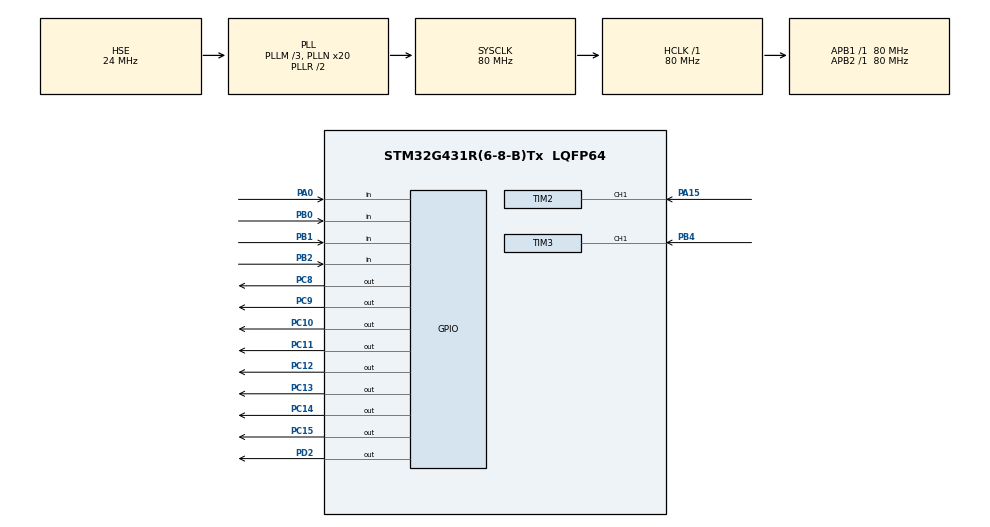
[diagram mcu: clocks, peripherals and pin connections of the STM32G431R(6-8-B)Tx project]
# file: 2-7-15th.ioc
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Mcu.Family=STM32G4
Mcu.Name=STM32G431R(6-8-B)Tx
Mcu.Package=LQFP64
NVIC.PriorityGroup=NVIC_PRIORITYGROUP_4
NVIC.TIM2_IRQn=true\:2\:0\:true\:false\:true\:true\:true\:true
NVIC.TIM3_IRQn=true\:1\:0\:true\:false\:true\:true\:true\:true
NVIC.TIM7_IRQn=true\:0\:0\:false\:false\:true\:true\:true\:true
PA0.GPIO_PuPd=GPIO_PULLUP
PA0.Signal=GPIO_Input
PA13.Mode=Serial_Wire
PA13.Signal=SYS_JTMS-SWDIO
PA14.Mode=Serial_Wire
PA14.Signal=SYS_JTCK-SWCLK
PA15.Signal=S_TIM2_CH1
PB0.GPIO_PuPd=GPIO_PULLUP
PB0.Signal=GPIO_Input
PB1.GPIO_PuPd=GPIO_PULLUP
PB1.Signal=GPIO_Input
PB2.GPIO_PuPd=GPIO_PULLUP
PB2.Signal=GPIO_Input
PB4.Signal=S_TIM3_CH1
PC10.PinState=GPIO_PIN_SET
PC10.Signal=GPIO_Output
PC11.PinState=GPIO_PIN_SET
PC11.Signal=GPIO_Output
PC12.PinState=GPIO_PIN_SET
PC12.Signal=GPIO_Output
PC13.PinState=GPIO_PIN_SET
PC13.Signal=GPIO_Output
PC14-OSC32_IN.PinState=GPIO_PIN_SET
PC14-OSC32_IN.Signal=GPIO_Output
PC15-OSC32_OUT.PinState=GPIO_PIN_SET
PC15-OSC32_OUT.Signal=GPIO_Output
PC8.PinState=GPIO_PIN_SET
PC8.Signal=GPIO_Output
PC9.PinState=GPIO_PIN_SET
PC9.Signal=GPIO_Output
PD2.PinState=GPIO_PIN_SET
PD2.Signal=GPIO_Output
PF0-OSC_IN.Mode=HSE-External-Oscillator
PF0-OSC_IN.Signal=RCC_OSC_IN
PF1-OSC_OUT.Mode=HSE-External-Oscillator
PF1-OSC_OUT.Signal=RCC_OSC_OUT
ProjectManager.HeapSize=0x200
ProjectManager.StackSize=0x400
ProjectManager.TargetToolchain=MDK-ARM V5.32
RCC.ADC12Freq_Value=80000000
RCC.AHBFreq_Value=80000000
RCC.APB1Freq_Value=80000000
RCC.APB1TimFreq_Value=80000000
RCC.APB2Freq_Value=80000000
RCC.APB2TimFreq_Value=80000000
RCC.CortexFreq_Value=80000000
RCC.EXTERNAL_CLOCK_VALUE=12288000
RCC.HCLKFreq_Value=80000000
RCC.HSE_VALUE=24000000
RCC.HSI48_VALUE=48000000
RCC.HSI_VALUE=16000000
RCC.LSE_VALUE=32768
RCC.PLLM=RCC_PLLM_DIV3
RCC.PLLN=20
RCC.PLLSourceVirtual=RCC_PLLSOURCE_HSE
RCC.SYSCLKFreq_VALUE=80000000
RCC.SYSCLKSource=RCC_SYSCLKSOURCE_PLLCLK
RCC.USBFreq_Value=80000000
RCC.VCOOutputFreq_Value=160000000
SH.S_TIM2_CH1.0=TIM2_CH1,Input_Capture1_from_TI1
SH.S_TIM3_CH1.0=TIM3_CH1,Input_Capture1_from_TI1
TIM2.Channel-Input_Capture1_from_TI1=TIM_CHANNEL_1
TIM2.PeriodNoDither=65535
TIM2.Prescaler=80-1
TIM3.Channel-Input_Capture1_from_TI1=TIM_CHANNEL_1
TIM3.Prescaler=80-1
TIM7.PeriodNoDither=1000-1
TIM7.Prescaler=80-1
VP_SYS_VS_DBSignals.Mode=DisableDeadBatterySignals
VP_TIM2_VS_ClockSourceINT.Mode=Internal
VP_TIM3_VS_ClockSourceINT.Mode=Internal
VP_TIM7_VS_ClockSourceINT.Mode=Enable_Timer
board=custom

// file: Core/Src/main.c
/* USER CODE BEGIN Header */
/**
  ******************************************************************************
  * @file           : main.c
  * @brief          : Main program body
  ******************************************************************************
  * @attention
  *
  * Copyright (c) 2025 STMicroelectronics.
  * All rights reserved.
  *
  * This software is licensed under terms that can be found in the LICENSE file
  * in the root directory of this software component.
  * If no LICENSE file comes with this software, it is provided AS-IS.
  *
  ******************************************************************************
  */
/* USER CODE END Header */
#include "main.h"
#include "tim.h"
#include "gpio.h"

/* USER CODE BEGIN Includes */
#include "headfile.h"
/* USER CODE END Includes */

void SystemClock_Config(void);

int main(void)
{

  /* MCU Configuration--------------------------------------------------------*/

  /* Reset of all peripherals, Initializes the Flash interface and the Systick. */
  HAL_Init();

  /* Configure the system clock */
  SystemClock_Config();

  /* Initialize all configured peripherals */
  MX_GPIO_Init();
  MX_TIM2_Init();
  MX_TIM3_Init();
  MX_TIM7_Init();
  /* USER CODE BEGIN 2 */
	HAL_GPIO_WritePin(GPIOD,GPIO_PIN_2,GPIO_PIN_RESET);
	led_show(1,0);
	led_show(2,0);
	led_show(3,0);
	led_show(4,0);
	led_show(5,0);
	led_show(6,0);
	led_show(7,0);
	led_show(8,0);

	LCD_Init();
	LCD_Clear(Black);
	LCD_SetTextColor(White);
	LCD_SetBackColor(Black);

	//HAL_TIM_IC_Start(&htim2,TIM_CHANNEL_1);
	//HAL_TIM_IC_Start(&htim3,TIM_CHANNEL_1);
	HAL_TIM_IC_Start_IT(&htim2,TIM_CHANNEL_1);
	HAL_TIM_IC_Start_IT(&htim3,TIM_CHANNEL_1);
	HAL_TIM_Base_Start_IT(&htim7);
  /* USER CODE END 2 */

  /* Infinite loop */
  /* USER CODE BEGIN WHILE */
  while (1)
  {
		while_fun();
    /* USER CODE END WHILE */

  }
}

void SystemClock_Config(void)
{
  RCC_OscInitTypeDef RCC_OscInitStruct = {0};
  RCC_ClkInitTypeDef RCC_ClkInitStruct = {0};

  /** Configure the main internal regulator output voltage
  */
  HAL_PWREx_ControlVoltageScaling(PWR_REGULATOR_VOLTAGE_SCALE1);

  /** Initializes the RCC Oscillators according to the specified parameters
  * in the RCC_OscInitTypeDef structure.
  */
  RCC_OscInitStruct.OscillatorType = RCC_OSCILLATORTYPE_HSE;
  RCC_OscInitStruct.HSEState = RCC_HSE_ON;
  RCC_OscInitStruct.PLL.PLLState = RCC_PLL_ON;
  RCC_OscInitStruct.PLL.PLLSource = RCC_PLLSOURCE_HSE;
  RCC_OscInitStruct.PLL.PLLM = RCC_PLLM_DIV3;
  RCC_OscInitStruct.PLL.PLLN = 20;
  RCC_OscInitStruct.PLL.PLLP = RCC_PLLP_DIV2;
  RCC_OscInitStruct.PLL.PLLQ = RCC_PLLQ_DIV2;
  RCC_OscInitStruct.PLL.PLLR = RCC_PLLR_DIV2;
  if (HAL_RCC_OscConfig(&RCC_OscInitStruct) != HAL_OK)
  {
    Error_Handler();
  }

  /** Initializes the CPU, AHB and APB buses clocks
  */
  RCC_ClkInitStruct.ClockType = RCC_CLOCKTYPE_HCLK|RCC_CLOCKTYPE_SYSCLK
                              |RCC_CLOCKTYPE_PCLK1|RCC_CLOCKTYPE_PCLK2;
  RCC_ClkInitStruct.SYSCLKSource = RCC_SYSCLKSOURCE_PLLCLK;
  RCC_ClkInitStruct.AHBCLKDivider = RCC_SYSCLK_DIV1;
  RCC_ClkInitStruct.APB1CLKDivider = RCC_HCLK_DIV1;
  RCC_ClkInitStruct.APB2CLKDivider = RCC_HCLK_DIV1;

  if (HAL_RCC_ClockConfig(&RCC_ClkInitStruct, FLASH_LATENCY_2) != HAL_OK)
  {
    Error_Handler();
  }
}

void Error_Handler(void)
{
  __disable_irq();
  while (1)
  {
  }
}
